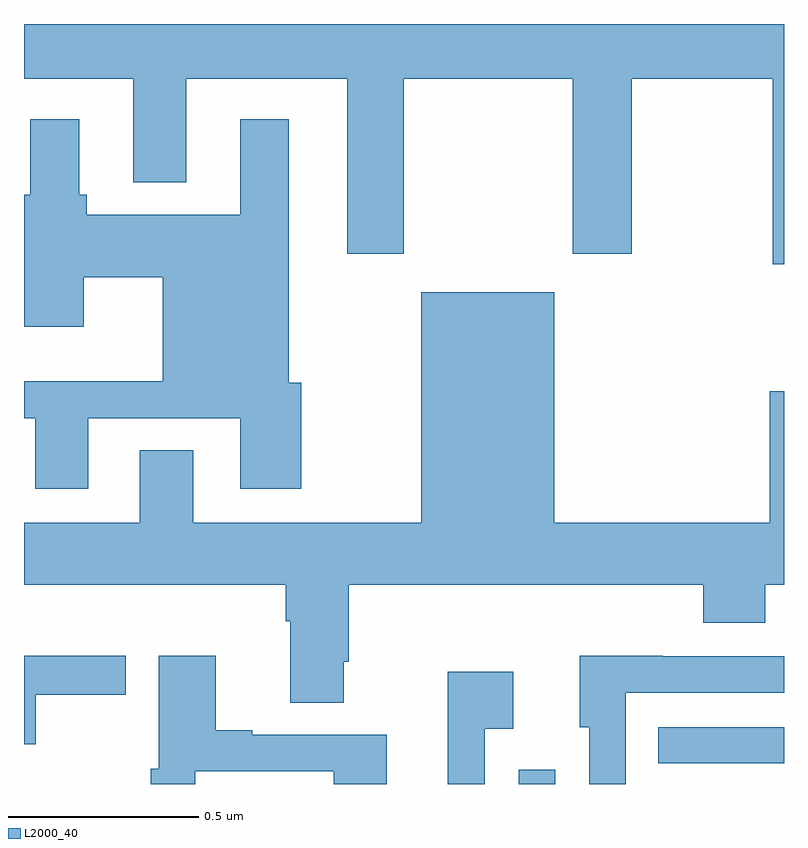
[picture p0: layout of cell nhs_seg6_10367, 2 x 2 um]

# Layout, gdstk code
import gdstk
lib = gdstk.Library(unit=1e-6, precision=1e-09)
def R(c, l, rs):  # rectangles x0, y0, x1, y1
    for r in rs: c.add(gdstk.rectangle(r[:2], r[2:], *l))
def P(c, l, *ps):  # polygons
    for p in ps: c.add(gdstk.Polygon(p, *l))
L2000_40 = (2000, 40)

nhs_seg6_10367 = lib.new_cell('nhs_seg6_10367')
R(nhs_seg6_10367, L2000_40, [(247.302,925.5,247.398,925.537), (247.669,925.554,248,925.65)])
P(nhs_seg6_10367, L2000_40, [(248,927.5),(246,927.5),(246,927.356),(246.287,927.356),(246.287,927.083),(246.427,927.083),(246.427,927.356),(246.851,927.356),(246.851,926.895),(246.999,926.895),(246.999,927.356),(247.444,927.356),(247.444,926.895),(247.599,926.895),(247.599,927.356),(247.971,927.356),(247.971,926.868),(248,926.868)],
  [(246.169,926.463),(246.569,926.463),(246.569,926.277),(246.729,926.277),(246.729,926.556),(246.697,926.556),(246.697,927.25),(246.569,927.25),(246.569,926.998),(246.165,926.998),(246.165,927.051),(246.145,927.051),(246.145,927.25),(246.017,927.25),(246.017,927.051),(246,927.051),(246,926.703),(246.157,926.703),(246.157,926.834),(246.365,926.834),(246.365,926.56),(246,926.56),(246,926.463),(246.029,926.463),(246.029,926.277),(246.169,926.277)],
  [(246.841,925.822),(246.854,925.822),(246.854,926.024),(247.787,926.024),(247.787,925.925),(247.951,925.925),(247.951,926.024),(248,926.024),(248,926.533),(247.963,926.533),(247.963,926.188),(247.396,926.188),(247.396,926.794),(247.046,926.794),(247.046,926.188),(246.445,926.188),(246.445,926.378),(246.305,926.378),(246.305,926.188),(246,926.188),(246,926.024),(246.689,926.024),(246.689,925.928),(246.701,925.928),(246.701,925.714),(246.841,925.714)],
  [(247.584,925.74),(248,925.74),(248,925.836),(247.681,925.836),(247.681,925.838),(247.463,925.838),(247.463,925.65),(247.488,925.65),(247.488,925.5),(247.584,925.5)],
  [(246.031,925.735),(246.268,925.735),(246.268,925.838),(246,925.838),(246,925.604),(246.031,925.604)],
  [(246.45,925.533),(246.815,925.533),(246.815,925.5),(246.955,925.5),(246.955,925.629),(246.601,925.629),(246.601,925.642),(246.505,925.642),(246.505,925.837),(246.354,925.837),(246.354,925.54),(246.334,925.54),(246.334,925.5),(246.45,925.5)],
  [(247.212,925.646),(247.288,925.646),(247.288,925.795),(247.115,925.795),(247.115,925.5),(247.212,925.5)])

lib.write_gds('nhs_seg6_10367.gds')
